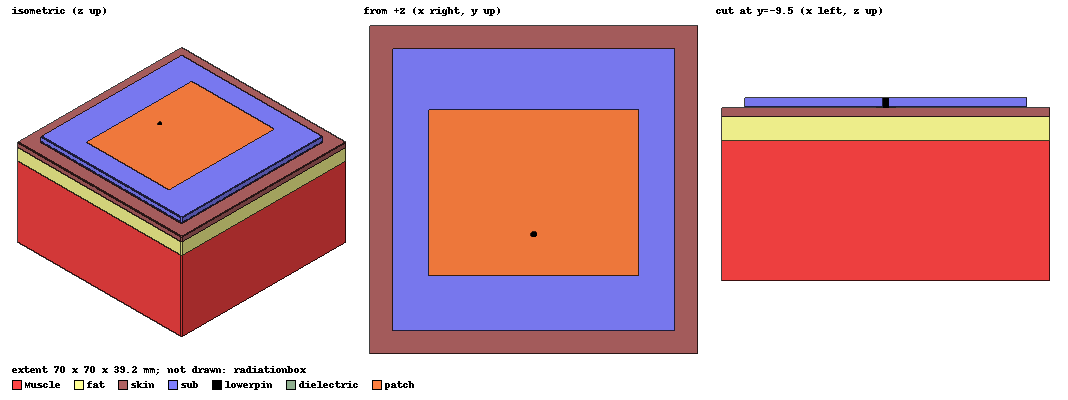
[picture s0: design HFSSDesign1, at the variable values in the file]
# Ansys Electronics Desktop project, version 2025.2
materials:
  vacuum: permittivity=1
  PDMS: permittivity=2.7 dielectric_loss_tangent=0.02
  copper: permeability=0.999991 conductivity=58000000 mass_density=8933
  Teflon (tm): permittivity=2.1 dielectric_loss_tangent=0.001 mass_density=2250
  air: permittivity=1.0006 permeability=1.0000004 mass_density=1.1614
  perfect conductor: conductivity=1e+30
  Skin: permittivity=38 conductivity=1.46 mass_density=1010
  Fat: permittivity=5.28 conductivity=0.1 mass_density=900
  MUSCLE: permittivity=52.7 conductivity=1.74 mass_density=1040

design HFSSDesign1 (HFSS, HFSS Modal Network, model units mm)
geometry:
  ground = rectangle(corner=(-30mm, -30mm, 0mm), x_size=60mm, y_size=60mm)
  sub [PDMS] = box(corner=(-30mm, -30mm, 0mm), size=(60mm, 60mm, 2mm))
  patch = rectangle(corner=(-22.5mm, -18.25mm, 2mm), x_size=45mm, y_size=35.3mm)
  lowerpin [copper] = cylinder(axis=Z, base_centre=(0mm, -9.5mm, 0mm), radius=0.635mm, height=-0.1mm)
  dielectric [Teflon (tm)] = cylinder(axis=Z, base_centre=(0mm, -9.5mm, 0mm), radius=2.05mm, height=-0.1mm)
  upperpin = cylinder(axis=Z, base_centre=(0mm, -9.5mm, 0mm), radius=0.635mm, height=2.1mm)
  lowerpin.unite(upperpin)
  dielectric_1 = dielectric.copy()
  ground.subtract(dielectric_1)
  port = circle(normal=Z, centre=(0mm, -9.5mm, -0.1mm), radius=2.05mm)
  lowerpin_1 = lowerpin.copy()
  sub.subtract(lowerpin_1)
  cutfordie = cylinder(axis=Z, base_centre=(0mm, -9.5mm, 0mm), radius=0.635mm, height=-4mm)
  dielectric.subtract(cutfordie)
  radiationbox [air] = box(corner=(-40mm, -40mm, -50mm), size=(80mm, 80mm, 80mm))
  cap [perfect conductor] = cylinder(axis=Z, base_centre=(0mm, -9.5mm, -0.1mm), radius=2.05mm, height=-0.1mm)
  skin [Skin] = box(corner=(-35mm, -35mm, -0.1mm), size=(70mm, 70mm, -2mm))
  fat [Fat] = box(corner=(-35mm, -35mm, -2.1mm), size=(70mm, 70mm, -5mm))
  Muscle [MUSCLE] = box(corner=(-35mm, -35mm, -7.1mm), size=(70mm, 70mm, -30mm))
  list ObjectSelection1 = skin, fat, Muscle
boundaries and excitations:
  PerfE1: Perfect E Objects=patch
  PerfE2: Perfect E Objects=ground
  Rad1: Radiation Objects=radiationbox
  outerconductor: Perfect E Faces=dielectric.face(side)
  1: Wave Port Objects=port WavePortType=Modal NumModes=1 Modes{Mode1{IntLine{(2000mm, -9600mm, -100mm) -> (0, -9.5, -0.1)} CharImp=Zpi RenormImp=50ohm}}
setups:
  Setup1: HfssDriven Frequency=2.45GHz MaxDeltaS=0.02 MaximumPasses=10 MinimumPasses=1 MinimumConvergedPasses=1 PercentRefinement=30 BasisOrder=1 PortAccuracy=2 DrivenSolverType="Direct Solver"
    sweep Sweep: 1.5GHz to 3GHz, 401 points; Type=Interpolating InterpTolerance=0.5 InterpMaxSolns=250 InterpUsePortImped=false PassivityErrorTolerance=0.0001
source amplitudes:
  1:1: 1V 0deg
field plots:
  Average_SAR1: SAR Field in skin, Muscle, fat on Setup1 : LastAdaptive at Freq=2.45GHz Phase=0deg
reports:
  S Parameter Plot1: dB(S(1,1)) vs Freq on Setup1 : Sweep; markers m1 at 2.46GHz
